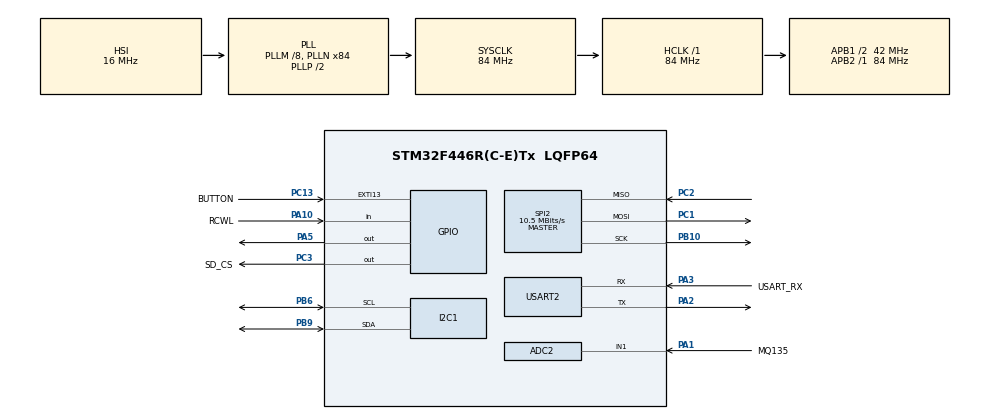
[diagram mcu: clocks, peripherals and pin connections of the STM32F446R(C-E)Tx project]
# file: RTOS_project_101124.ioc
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ADC1.Channel-2\#ChannelRegularConversion=ADC_CHANNEL_TEMPSENSOR
ADC1.Channel-3\#ChannelRegularConversion=ADC_CHANNEL_VREFINT
ADC1.ClockPrescaler=ADC_CLOCK_SYNC_PCLK_DIV4
ADC1.ContinuousConvMode=DISABLE
ADC1.DMAContinuousRequests=ENABLE
ADC1.ExternalTrigConv=ADC_EXTERNALTRIGCONV_T3_TRGO
ADC1.ExternalTrigConvEdge=ADC_EXTERNALTRIGCONVEDGE_FALLING
ADC1.NbrOfConversion=2
ADC1.NbrOfConversionFlag=1
ADC1.Rank-2\#ChannelRegularConversion=1
ADC1.Rank-3\#ChannelRegularConversion=2
ADC1.SamplingTime-2\#ChannelRegularConversion=ADC_SAMPLETIME_480CYCLES
ADC1.SamplingTime-3\#ChannelRegularConversion=ADC_SAMPLETIME_480CYCLES
ADC1.ScanConvMode=ENABLE
ADC1.master=1
ADC2.Channel-1\#ChannelRegularConversion=ADC_CHANNEL_1
ADC2.ClockPrescaler=ADC_CLOCK_SYNC_PCLK_DIV4
ADC2.NbrOfConversionFlag=1
ADC2.Rank-1\#ChannelRegularConversion=1
ADC2.SamplingTime-1\#ChannelRegularConversion=ADC_SAMPLETIME_480CYCLES
Dma.ADC1.0.Direction=DMA_PERIPH_TO_MEMORY
Dma.ADC1.0.FIFOMode=DMA_FIFOMODE_DISABLE
Dma.ADC1.0.Instance=DMA2_Stream0
Dma.ADC1.0.MemDataAlignment=DMA_MDATAALIGN_HALFWORD
Dma.ADC1.0.MemInc=DMA_MINC_ENABLE
Dma.ADC1.0.Mode=DMA_CIRCULAR
Dma.ADC1.0.PeriphDataAlignment=DMA_PDATAALIGN_HALFWORD
Dma.ADC1.0.PeriphInc=DMA_PINC_DISABLE
Dma.ADC1.0.Priority=DMA_PRIORITY_HIGH
Dma.Request0=ADC1
FATFS._MAX_SS=4096
FATFS._USE_LFN=2
FREERTOS.Tasks01=idleTask,24,128,StartDefaultTask,Default,NULL,Dynamic,NULL,NULL
FREERTOS.configGENERATE_RUN_TIME_STATS=1
FREERTOS.configUSE_NEWLIB_REENTRANT=1
FREERTOS.configUSE_STATS_FORMATTING_FUNCTIONS=1
FREERTOS.configUSE_TICKLESS_IDLE=2
I2C1.I2C_Mode=I2C_Fast
Mcu.Family=STM32F4
Mcu.Name=STM32F446R(C-E)Tx
Mcu.Package=LQFP64
NVIC.DMA2_Stream0_IRQn=true\:1\:0\:true\:false\:true\:false\:false\:true\:true
NVIC.EXTI15_10_IRQn=true\:5\:0\:false\:false\:true\:true\:true\:true\:true
NVIC.I2C1_ER_IRQn=true\:5\:0\:false\:false\:true\:true\:true\:true\:true
NVIC.I2C1_EV_IRQn=true\:5\:0\:false\:false\:true\:true\:true\:true\:true
NVIC.PriorityGroup=NVIC_PRIORITYGROUP_4
NVIC.TIM1_TRG_COM_TIM11_IRQn=true\:5\:0\:false\:false\:true\:true\:true\:true\:true
NVIC.TIM6_DAC_IRQn=true\:15\:0\:true\:false\:true\:false\:false\:true\:true
NVIC.TimeBase=TIM6_DAC_IRQn
NVIC.TimeBaseIP=TIM6
PA1.GPIO_Label=MQ135
PA1.Signal=ADCx_IN1
PA10.GPIO_Label=RCWL
PA10.Signal=GPIO_Input
PA13.GPIO_Label=TMS
PA13.Mode=Trace_Asynchronous_SW
PA13.Signal=SYS_JTMS-SWDIO
PA14.GPIO_Label=TCK
PA14.Mode=Trace_Asynchronous_SW
PA14.Signal=SYS_JTCK-SWCLK
PA2.Mode=Asynchronous
PA2.Signal=USART2_TX
PA3.GPIO_Label=USART_RX
PA3.Mode=Asynchronous
PA3.Signal=USART2_RX
PA5.Signal=GPIO_Output
PB10.Mode=Full_Duplex_Master
PB10.Signal=SPI2_SCK
PB3.GPIO_Label=SWO
PB3.Mode=Trace_Asynchronous_SW
PB3.Signal=SYS_JTDO-SWO
PB6.Mode=I2C
PB6.Signal=I2C1_SCL
PB9.Mode=I2C
PB9.Signal=I2C1_SDA
PC1.Mode=Full_Duplex_Master
PC1.Signal=SPI2_MOSI
PC13.GPIO_Label=BUTTON
PC13.GPIO_PuPd=GPIO_PULLUP
PC13.Signal=GPXTI13
PC14-OSC32_IN.Mode=LSE-External-Oscillator
PC14-OSC32_IN.Signal=RCC_OSC32_IN
PC15-OSC32_OUT.Mode=LSE-External-Oscillator
PC15-OSC32_OUT.Signal=RCC_OSC32_OUT
PC2.Mode=Full_Duplex_Master
PC2.Signal=SPI2_MISO
PC3.GPIO_Label=SD_CS
PC3.Signal=GPIO_Output
PH0-OSC_IN.Mode=HSE-External-Oscillator
PH0-OSC_IN.Signal=RCC_OSC_IN
PH1-OSC_OUT.Mode=HSE-External-Oscillator
PH1-OSC_OUT.Signal=RCC_OSC_OUT
ProjectManager.HeapSize=0x800
ProjectManager.StackSize=0x800
ProjectManager.TargetToolchain=STM32CubeIDE
RCC.AHBFreq_Value=84000000
RCC.APB1CLKDivider=RCC_HCLK_DIV2
RCC.APB1Freq_Value=42000000
RCC.APB1TimFreq_Value=84000000
RCC.APB2Freq_Value=84000000
RCC.APB2TimFreq_Value=84000000
RCC.CortexFreq_Value=84000000
RCC.FLatency-AdvancedSettings=FLASH_LATENCY_2
RCC.HCLKFreq_Value=84000000
RCC.HSE_VALUE=8000000
RCC.HSI_VALUE=16000000
RCC.PLLM=8
RCC.PLLN=84
RCC.SYSCLKFreq_VALUE=84000000
RCC.SYSCLKSource=RCC_SYSCLKSOURCE_PLLCLK
RCC.USBFreq_Value=84000000
RCC.VCOOutputFreq_Value=168000000
RTC.Alarm=RTC_ALARM_A
RTC.Date=30
RTC.Format=RTC_FORMAT_BIN
RTC.Hours=10
RTC.Minutes=20
RTC.Month=RTC_MONTH_NOVEMBER
RTC.Seconds=30
RTC.WeekDay=RTC_WEEKDAY_SATURDAY
RTC.Year=24
SH.ADCx_IN1.0=ADC2_IN1,IN1
SPI2.BaudRatePrescaler=SPI_BAUDRATEPRESCALER_4
SPI2.CalculateBaudRate=10.5 MBits/s
SPI2.Direction=SPI_DIRECTION_2LINES
SPI2.Mode=SPI_MODE_MASTER
SPI2.VirtualType=VM_MASTER
STMicroelectronics.X-CUBE-AI.9.1.0.HeapSize=0x800
STMicroelectronics.X-CUBE-AI.9.1.0.ReadyForCodeGeneration=false
STMicroelectronics.X-CUBE-AI.9.1.0.StackSize=0x800
TIM3.AutoReloadPreload=TIM_AUTORELOAD_PRELOAD_ENABLE
TIM3.Period=1000-1
TIM3.Prescaler=840-1
TIM3.TIM_MasterOutputTrigger=TIM_TRGO_UPDATE
USART2.VirtualMode=VM_ASYNC
VP_ADC1_TempSens_Input.Mode=IN-TempSens
VP_ADC1_Vref_Input.Mode=IN-Vrefint
VP_FATFS_VS_Generic.Mode=User_defined
VP_FREERTOS_VS_CMSIS_V2.Mode=CMSIS_V2
VP_RTC_VS_RTC_Activate.Mode=RTC_Enabled
VP_RTC_VS_RTC_Alarm_A_Intern.Mode=Alarm A
VP_RTC_VS_RTC_Calendar.Mode=RTC_Calendar
VP_SYS_VS_tim6.Mode=TIM6
VP_TIM11_VS_ClockSourceINT.Mode=Enable_Timer
VP_TIM3_VS_ClockSourceINT.Mode=Internal
board=NUCLEO-F446RE

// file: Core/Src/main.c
/* USER CODE BEGIN Header */
/**
  NOTE: In some cases the code might not work and gives you errors like " _close is not implemented and will always fail"
  so in this case download syscalls.c from internet
	NOTE: We have used TIM11 for debugging purposes to get Task, semaphore related data
*/
/* USER CODE END Header */
#include "main.h"
#include "cmsis_os.h"
#include "fatfs.h"

/* USER CODE BEGIN Includes */
#include "string.h"
#include "stdbool.h"
#include "stdlib.h"
#include "stdio.h"
#include "ssd1306.h"//user made
#include "fonts.h"//user made
#include "bitmap.h"//user made
#include "horse_anim.h"//user made
#include "queue.h"//user made
#include "dma_adc.h"//user made
#include "UART.h"//user made
#include "semphr.h"//user made
/* USER CODE END Includes */

/* USER CODE BEGIN PTD */
FATFS fs;
FATFS *pfs;
FIL fil;
UINT br,bw;
FRESULT fresult;
DWORD fre_clust;
uint32_t total, free_space;
//Variables defined for SD Card initialization

char buffer[256];
char OLEDbuffer[256];
char motionState[50];
char adcVal[50];
char tempState[50];
char SDCardUART[30];
char help_str[10];
//char arrays for printing

uint16_t adc_buffer[ADC_SAMPLES * 2 * 2] = { 0 }; // ADC_SAMPLES samples, 2 channels, 2 buffers
// buffer for sdc dma

volatile BaseType_t isButtonPressed = pdFALSE;
uint8_t help = 1;
uint32_t count=0;
///other variables

/* USER CODE END PTD */

/* USER CODE BEGIN PD */
RTC_TimeTypeDef sTime;
RTC_DateTypeDef sDate;

/* USER CODE END PD */

ADC_HandleTypeDef hadc1;
ADC_HandleTypeDef hadc2;
DMA_HandleTypeDef hdma_adc1;

I2C_HandleTypeDef hi2c1;

RTC_HandleTypeDef hrtc;

SPI_HandleTypeDef hspi2;

TIM_HandleTypeDef htim3;
TIM_HandleTypeDef htim11;

UART_HandleTypeDef huart2;

/* Definitions for idleTask */
osThreadId_t idleTaskHandle;
const osThreadAttr_t idleTask_attributes = {
  .name = "idleTask",
  .stack_size = 128 * 4,
  .priority = (osPriority_t) osPriorityNormal,
};
/* USER CODE BEGIN PV */
#define MAX_QUEUE_SIZE 10
#define MAX_CHARS 40
/* USER CODE END PV */

void SystemClock_Config(void);
static void MX_GPIO_Init(void);
static void MX_DMA_Init(void);
static void MX_USART2_UART_Init(void);
static void MX_RTC_Init(void);
static void MX_SPI2_Init(void);
static void MX_ADC1_Init(void);
static void MX_ADC2_Init(void);
static void MX_I2C1_Init(void);
static void MX_TIM3_Init(void);
static void MX_TIM11_Init(void);
void StartDefaultTask(void *argument);

/* USER CODE BEGIN PFP */
//void MX_FREERTOS_Init(void);
void MX_FREERTOS_Init(void);
void SDCard_Init(void);
/* USER CODE END PFP */

/* USER CODE BEGIN 0 */
void vRCWLtask(void *pvParameters);
void vUARTtask(void *pvParameters);
void vAQItask(void *pvParameters);
void vRTCtask(void *pvParameters);
void vMQ135task(void *pvParameters);
void vInternalTemptask(void *pvParameters);
void vSwitchtask(void *pvParameters);
void printOLED(char*string, uint8_t y);
void send_SDCard(char*string);
TaskHandle_t RCWL_Handle=NULL;
TaskHandle_t AQI_Handle=NULL;
TaskHandle_t RTC_Handle=NULL;
TaskHandle_t UART_Handle=NULL;
TaskHandle_t MQ135_Handle=NULL;
TaskHandle_t InternalTemp_Handle=NULL;
TaskHandle_t Switch_Handle=NULL;
SemaphoreHandle_t MutexOne=NULL;
SemaphoreHandle_t binarySemaphoreISR=NULL;

/* USER CODE END 0 */

int main(void)
{

  /* MCU Configuration--------------------------------------------------------*/

  /* Reset of all peripherals, Initializes the Flash interface and the Systick. */
  HAL_Init();

  /* Configure the system clock */
  SystemClock_Config();

  /* Initialize all configured peripherals */
  MX_GPIO_Init();
  MX_DMA_Init();
  MX_USART2_UART_Init();
  MX_RTC_Init();
  MX_SPI2_Init();
  MX_FATFS_Init();
  MX_ADC1_Init();
  MX_ADC2_Init();
  MX_I2C1_Init();
  MX_TIM3_Init();
  MX_TIM11_Init();

  /* Init scheduler */
  osKernelInitialize();

  /* USER CODE BEGIN RTOS_MUTEX */
  MutexOne = xSemaphoreCreateMutex();//Create mutex for printing task
  binarySemaphoreISR = xSemaphoreCreateBinary();//created binary semaphore so that ISR goes to vSwitchTask after interrupt
  /* add mutexes, ... */
  /* USER CODE END RTOS_MUTEX */

  /* Create the thread(s) */
  /* creation of idleTask */
  idleTaskHandle = osThreadNew(StartDefaultTask, NULL, &idleTask_attributes);

  /* USER CODE BEGIN RTOS_THREADS */
  /* add threads, ... */

  xTaskCreate(vUARTtask,"UART_Task", 128, NULL, 2, &UART_Handle);// at 256-Stack Size HELP doesn't prints on OLED SCREEN. ONLY GOD KNOWS WHY!!
  xTaskCreate(vRCWLtask,"RCWL_Tsk", 512, NULL, 2, &RCWL_Handle);
  xTaskCreate(vMQ135task,"MQ135_Task", 512, NULL, 2, &MQ135_Handle);
  xTaskCreate(vInternalTemptask,"Temp_Task", 512, NULL, 2, &InternalTemp_Handle);
  xTaskCreate(vRTCtask,"RTC_Task", 512, NULL, 2, &RTC_Handle);
  xTaskCreate(vSwitchtask,"Switch_Task", 1024, NULL, 3, &Switch_Handle);
  /* USER CODE END RTOS_THREADS */

  /* USER CODE BEGIN RTOS_EVENTS */
  SDCard_Init();
  MX_FREERTOS_Init();
  SSD1306_Init();

  /* add events, ... */
  /* USER CODE END RTOS_EVENTS */

  /* Start scheduler */
  osKernelStart();

  /* We should never get here as control is now taken by the scheduler */
  /* Infinite loop */
  while (1)
  {

  }
}

void SystemClock_Config(void)
{
  RCC_OscInitTypeDef RCC_OscInitStruct = {0};
  RCC_ClkInitTypeDef RCC_ClkInitStruct = {0};

  /** Configure the main internal regulator output voltage
  */
  __HAL_RCC_PWR_CLK_ENABLE();
  __HAL_PWR_VOLTAGESCALING_CONFIG(PWR_REGULATOR_VOLTAGE_SCALE3);

  /** Initializes the RCC Oscillators according to the specified parameters
  * in the RCC_OscInitTypeDef structure.
  */
  RCC_OscInitStruct.OscillatorType = RCC_OSCILLATORTYPE_HSI|RCC_OSCILLATORTYPE_LSI;
  RCC_OscInitStruct.LSEState = RCC_LSE_ON;
  RCC_OscInitStruct.HSIState = RCC_HSI_ON;
  RCC_OscInitStruct.HSICalibrationValue = RCC_HSICALIBRATION_DEFAULT;
  RCC_OscInitStruct.LSIState = RCC_LSI_ON;
  RCC_OscInitStruct.PLL.PLLState = RCC_PLL_ON;
  RCC_OscInitStruct.PLL.PLLSource = RCC_PLLSOURCE_HSI;
  RCC_OscInitStruct.PLL.PLLM = 8;
  RCC_OscInitStruct.PLL.PLLN = 84;
  RCC_OscInitStruct.PLL.PLLP = RCC_PLLP_DIV2;
  RCC_OscInitStruct.PLL.PLLQ = 2;
  RCC_OscInitStruct.PLL.PLLR = 2;
  if (HAL_RCC_OscConfig(&RCC_OscInitStruct) != HAL_OK)
  {
    Error_Handler();
  }

  /** Initializes the CPU, AHB and APB buses clocks
  */
  RCC_ClkInitStruct.ClockType = RCC_CLOCKTYPE_HCLK|RCC_CLOCKTYPE_SYSCLK
                              |RCC_CLOCKTYPE_PCLK1|RCC_CLOCKTYPE_PCLK2;
  RCC_ClkInitStruct.SYSCLKSource = RCC_SYSCLKSOURCE_PLLCLK;
  RCC_ClkInitStruct.AHBCLKDivider = RCC_SYSCLK_DIV1;
  RCC_ClkInitStruct.APB1CLKDivider = RCC_HCLK_DIV2;
  RCC_ClkInitStruct.APB2CLKDivider = RCC_HCLK_DIV1;

  if (HAL_RCC_ClockConfig(&RCC_ClkInitStruct, FLASH_LATENCY_2) != HAL_OK)
  {
    Error_Handler();
  }
}

static void MX_ADC1_Init(void)
{

  ADC_ChannelConfTypeDef sConfig = {0};

  /** Configure the global features of the ADC (Clock, Resolution, Data Alignment and number of conversion)
  */
  hadc1.Instance = ADC1;
  hadc1.Init.ClockPrescaler = ADC_CLOCK_SYNC_PCLK_DIV4;
  hadc1.Init.Resolution = ADC_RESOLUTION_12B;
  hadc1.Init.ScanConvMode = ENABLE;
  hadc1.Init.ContinuousConvMode = DISABLE;
  hadc1.Init.DiscontinuousConvMode = DISABLE;
  hadc1.Init.ExternalTrigConvEdge = ADC_EXTERNALTRIGCONVEDGE_FALLING;
  hadc1.Init.ExternalTrigConv = ADC_EXTERNALTRIGCONV_T3_TRGO;
  hadc1.Init.DataAlign = ADC_DATAALIGN_RIGHT;
  hadc1.Init.NbrOfConversion = 2;
  hadc1.Init.DMAContinuousRequests = ENABLE;
  hadc1.Init.EOCSelection = ADC_EOC_SINGLE_CONV;
  if (HAL_ADC_Init(&hadc1) != HAL_OK)
  {
    Error_Handler();
  }

  /** Configure for the selected ADC regular channel its corresponding rank in the sequencer and its sample time.
  */
  sConfig.Channel = ADC_CHANNEL_TEMPSENSOR;
  sConfig.Rank = 1;
  sConfig.SamplingTime = ADC_SAMPLETIME_480CYCLES;
  if (HAL_ADC_ConfigChannel(&hadc1, &sConfig) != HAL_OK)
  {
    Error_Handler();
  }

  /** Configure for the selected ADC regular channel its corresponding rank in the sequencer and its sample time.
  */
  sConfig.Channel = ADC_CHANNEL_VREFINT;
  sConfig.Rank = 2;
  if (HAL_ADC_ConfigChannel(&hadc1, &sConfig) != HAL_OK)
  {
    Error_Handler();
  }

}

static void MX_ADC2_Init(void)
{

  ADC_ChannelConfTypeDef sConfig = {0};

  /** Configure the global features of the ADC (Clock, Resolution, Data Alignment and number of conversion)
  */
  hadc2.Instance = ADC2;
  hadc2.Init.ClockPrescaler = ADC_CLOCK_SYNC_PCLK_DIV4;
  hadc2.Init.Resolution = ADC_RESOLUTION_12B;
  hadc2.Init.ScanConvMode = DISABLE;
  hadc2.Init.ContinuousConvMode = DISABLE;
  hadc2.Init.DiscontinuousConvMode = DISABLE;
  hadc2.Init.ExternalTrigConvEdge = ADC_EXTERNALTRIGCONVEDGE_NONE;
  hadc2.Init.ExternalTrigConv = ADC_SOFTWARE_START;
  hadc2.Init.DataAlign = ADC_DATAALIGN_RIGHT;
  hadc2.Init.NbrOfConversion = 1;
  hadc2.Init.DMAContinuousRequests = DISABLE;
  hadc2.Init.EOCSelection = ADC_EOC_SINGLE_CONV;
  if (HAL_ADC_Init(&hadc2) != HAL_OK)
  {
    Error_Handler();
  }

  /** Configure for the selected ADC regular channel its corresponding rank in the sequencer and its sample time.
  */
  sConfig.Channel = ADC_CHANNEL_1;
  sConfig.Rank = 1;
  sConfig.SamplingTime = ADC_SAMPLETIME_480CYCLES;
  if (HAL_ADC_ConfigChannel(&hadc2, &sConfig) != HAL_OK)
  {
    Error_Handler();
  }

}

static void MX_I2C1_Init(void)
{

  hi2c1.Instance = I2C1;
  hi2c1.Init.ClockSpeed = 400000;
  hi2c1.Init.DutyCycle = I2C_DUTYCYCLE_2;
  hi2c1.Init.OwnAddress1 = 0;
  hi2c1.Init.AddressingMode = I2C_ADDRESSINGMODE_7BIT;
  hi2c1.Init.DualAddressMode = I2C_DUALADDRESS_DISABLE;
  hi2c1.Init.OwnAddress2 = 0;
  hi2c1.Init.GeneralCallMode = I2C_GENERALCALL_DISABLE;
  hi2c1.Init.NoStretchMode = I2C_NOSTRETCH_DISABLE;
  if (HAL_I2C_Init(&hi2c1) != HAL_OK)
  {
    Error_Handler();
  }

}

static void MX_RTC_Init(void)
{

  RTC_TimeTypeDef sTime = {0};
  RTC_DateTypeDef sDate = {0};
  RTC_AlarmTypeDef sAlarm = {0};

  /** Initialize RTC Only
  */
  hrtc.Instance = RTC;
  hrtc.Init.HourFormat = RTC_HOURFORMAT_24;
  hrtc.Init.AsynchPrediv = 127;
  hrtc.Init.SynchPrediv = 255;
  hrtc.Init.OutPut = RTC_OUTPUT_DISABLE;
  hrtc.Init.OutPutPolarity = RTC_OUTPUT_POLARITY_HIGH;
  hrtc.Init.OutPutType = RTC_OUTPUT_TYPE_OPENDRAIN;
  if (HAL_RTC_Init(&hrtc) != HAL_OK)
  {
    Error_Handler();
  }

  /** Initialize RTC and set the Time and Date
  */
  sTime.Hours = 10;
  sTime.Minutes = 20;
  sTime.Seconds = 30;
  sTime.DayLightSaving = RTC_DAYLIGHTSAVING_NONE;
  sTime.StoreOperation = RTC_STOREOPERATION_RESET;
  if (HAL_RTC_SetTime(&hrtc, &sTime, RTC_FORMAT_BIN) != HAL_OK)
  {
    Error_Handler();
  }
  sDate.WeekDay = RTC_WEEKDAY_SATURDAY;
  sDate.Month = RTC_MONTH_NOVEMBER;
  sDate.Date = 30;
  sDate.Year = 24;

  if (HAL_RTC_SetDate(&hrtc, &sDate, RTC_FORMAT_BIN) != HAL_OK)
  {
    Error_Handler();
  }

  /** Enable the Alarm A
  */
  sAlarm.AlarmTime.Hours = 0;
  sAlarm.AlarmTime.Minutes = 0;
  sAlarm.AlarmTime.Seconds = 0;
  sAlarm.AlarmTime.SubSeconds = 0;
  sAlarm.AlarmTime.DayLightSaving = RTC_DAYLIGHTSAVING_NONE;
  sAlarm.AlarmTime.StoreOperation = RTC_STOREOPERATION_RESET;
  sAlarm.AlarmMask = RTC_ALARMMASK_NONE;
  sAlarm.AlarmSubSecondMask = RTC_ALARMSUBSECONDMASK_ALL;
  sAlarm.AlarmDateWeekDaySel = RTC_ALARMDATEWEEKDAYSEL_DATE;
  sAlarm.AlarmDateWeekDay = 1;
  sAlarm.Alarm = RTC_ALARM_A;
  if (HAL_RTC_SetAlarm(&hrtc, &sAlarm, RTC_FORMAT_BIN) != HAL_OK)
  {
    Error_Handler();
  }

}

static void MX_SPI2_Init(void)
{

  /* SPI2 parameter configuration*/
  hspi2.Instance = SPI2;
  hspi2.Init.Mode = SPI_MODE_MASTER;
  hspi2.Init.Direction = SPI_DIRECTION_2LINES;
  hspi2.Init.DataSize = SPI_DATASIZE_8BIT;
  hspi2.Init.CLKPolarity = SPI_POLARITY_LOW;
  hspi2.Init.CLKPhase = SPI_PHASE_1EDGE;
  hspi2.Init.NSS = SPI_NSS_SOFT;
  hspi2.Init.BaudRatePrescaler = SPI_BAUDRATEPRESCALER_4;
  hspi2.Init.FirstBit = SPI_FIRSTBIT_MSB;
  hspi2.Init.TIMode = SPI_TIMODE_DISABLE;
  hspi2.Init.CRCCalculation = SPI_CRCCALCULATION_DISABLE;
  hspi2.Init.CRCPolynomial = 10;
  if (HAL_SPI_Init(&hspi2) != HAL_OK)
  {
    Error_Handler();
  }

}

static void MX_TIM3_Init(void)
{

  TIM_ClockConfigTypeDef sClockSourceConfig = {0};
  TIM_MasterConfigTypeDef sMasterConfig = {0};

  htim3.Instance = TIM3;
  htim3.Init.Prescaler = 840-1;
  htim3.Init.CounterMode = TIM_COUNTERMODE_UP;
  htim3.Init.Period = 1000-1;
  htim3.Init.ClockDivision = TIM_CLOCKDIVISION_DIV1;
  htim3.Init.AutoReloadPreload = TIM_AUTORELOAD_PRELOAD_ENABLE;
  if (HAL_TIM_Base_Init(&htim3) != HAL_OK)
  {
    Error_Handler();
  }
  sClockSourceConfig.ClockSource = TIM_CLOCKSOURCE_INTERNAL;
  if (HAL_TIM_ConfigClockSource(&htim3, &sClockSourceConfig) != HAL_OK)
  {
    Error_Handler();
  }
  sMasterConfig.MasterOutputTrigger = TIM_TRGO_UPDATE;
  sMasterConfig.MasterSlaveMode = TIM_MASTERSLAVEMODE_DISABLE;
  if (HAL_TIMEx_MasterConfigSynchronization(&htim3, &sMasterConfig) != HAL_OK)
  {
    Error_Handler();
  }

}

static void MX_TIM11_Init(void)
{

  htim11.Instance = TIM11;
  htim11.Init.Prescaler = 0;
  htim11.Init.CounterMode = TIM_COUNTERMODE_UP;
  htim11.Init.Period = 65535;
  htim11.Init.ClockDivision = TIM_CLOCKDIVISION_DIV1;
  htim11.Init.AutoReloadPreload = TIM_AUTORELOAD_PRELOAD_DISABLE;
  if (HAL_TIM_Base_Init(&htim11) != HAL_OK)
  {
    Error_Handler();
  }

}

static void MX_USART2_UART_Init(void)
{

  huart2.Instance = USART2;
  huart2.Init.BaudRate = 115200;
  huart2.Init.WordLength = UART_WORDLENGTH_8B;
  huart2.Init.StopBits = UART_STOPBITS_1;
  huart2.Init.Parity = UART_PARITY_NONE;
  huart2.Init.Mode = UART_MODE_TX_RX;
  huart2.Init.HwFlowCtl = UART_HWCONTROL_NONE;
  huart2.Init.OverSampling = UART_OVERSAMPLING_16;
  if (HAL_UART_Init(&huart2) != HAL_OK)
  {
    Error_Handler();
  }

}

static void MX_DMA_Init(void)
{

  /* DMA controller clock enable */
  __HAL_RCC_DMA2_CLK_ENABLE();

  /* DMA interrupt init */
  /* DMA2_Stream0_IRQn interrupt configuration */
  HAL_NVIC_SetPriority(DMA2_Stream0_IRQn, 1, 0);
  HAL_NVIC_EnableIRQ(DMA2_Stream0_IRQn);

}

static void MX_GPIO_Init(void)
{
  GPIO_InitTypeDef GPIO_InitStruct = {0};

  /* GPIO Ports Clock Enable */
  __HAL_RCC_GPIOC_CLK_ENABLE();
  __HAL_RCC_GPIOH_CLK_ENABLE();
  __HAL_RCC_GPIOA_CLK_ENABLE();
  __HAL_RCC_GPIOB_CLK_ENABLE();

  /*Configure GPIO pin Output Level */
  HAL_GPIO_WritePin(SD_CS_GPIO_Port, SD_CS_Pin, GPIO_PIN_RESET);

  /*Configure GPIO pin Output Level */
  HAL_GPIO_WritePin(GPIOA, GPIO_PIN_5, GPIO_PIN_RESET);

  /*Configure GPIO pin : BUTTON_Pin */
  GPIO_InitStruct.Pin = BUTTON_Pin;
  GPIO_InitStruct.Mode = GPIO_MODE_IT_RISING;
  GPIO_InitStruct.Pull = GPIO_PULLUP;
  HAL_GPIO_Init(BUTTON_GPIO_Port, &GPIO_InitStruct);

  /*Configure GPIO pin : SD_CS_Pin */
  GPIO_InitStruct.Pin = SD_CS_Pin;
  GPIO_InitStruct.Mode = GPIO_MODE_OUTPUT_PP;
  GPIO_InitStruct.Pull = GPIO_NOPULL;
  GPIO_InitStruct.Speed = GPIO_SPEED_FREQ_LOW;
  HAL_GPIO_Init(SD_CS_GPIO_Port, &GPIO_InitStruct);

  /*Configure GPIO pin : PA5 */
  GPIO_InitStruct.Pin = GPIO_PIN_5;
  GPIO_InitStruct.Mode = GPIO_MODE_OUTPUT_PP;
  GPIO_InitStruct.Pull = GPIO_NOPULL;
  GPIO_InitStruct.Speed = GPIO_SPEED_FREQ_LOW;
  HAL_GPIO_Init(GPIOA, &GPIO_InitStruct);

  /*Configure GPIO pin : RCWL_Pin */
  GPIO_InitStruct.Pin = RCWL_Pin;
  GPIO_InitStruct.Mode = GPIO_MODE_INPUT;
  GPIO_InitStruct.Pull = GPIO_NOPULL;
  HAL_GPIO_Init(RCWL_GPIO_Port, &GPIO_InitStruct);

  /* EXTI interrupt init*/
  HAL_NVIC_SetPriority(EXTI15_10_IRQn, 5, 0);
  HAL_NVIC_EnableIRQ(EXTI15_10_IRQn);

}

/* USER CODE BEGIN 4 */

void SDCard_Init(void){// SD Card Initialization
	fresult=f_mount(&fs,"",0);
	if(fresult!=FR_OK){
		send_uart("error in mounting SD card ....\n\r");
	}
	else{
		send_uart("SD card mounted\n\r");
	}
}

void MX_FREERTOS_Init(void){// This is for debugging purposes. Check FreeRTOS task View Window
	vQueueAddToRegistry(binarySemaphoreISR, "binary_semaphore_ISR");
	vQueueAddToRegistry(MutexOne, "Mutex_One");
}

// Sends a string to the OLED at a specified row (y)
// Parameters:
// - string: Text to display
// - y: Y-coordinate (row) on the OLED
void send_OLED(char* string, uint8_t y) {
	if (help) { // Check if display update is allowed
		SSD1306_GotoXY(5, y);               // Set cursor position
		SSD1306_Puts(string, &Font_7x10, 1); // Display string in specified font
		SSD1306_UpdateScreen();             // Refresh OLED screen
	}
}

// Appends a string to "data.txt" on the SD card
void send_SDCard(char* string) {
	count++; // Increment counter
	fresult = f_open(&fil, "data.txt", FA_OPEN_ALWAYS | FA_WRITE | FA_OPEN_APPEND); // Open file in append mode
	strcat(string, "\n\r"); // Add newline to the string
	fresult = f_puts(string, &fil); // Write string to file
	f_close(&fil); // Close file
}

// Task to send a counter value over UART periodically
void vUARTtask(void *pvParameters) {
	uint16_t count = 0; // Initialize counter

	while (1) { // Infinite task loop
		count++; // Increment counter
		sprintf(buffer, "count is %d\n\r", count); // Format counter value into buffer
		send_uart(buffer); // Send buffer over UART
		vTaskDelay(50); // Delay for 50 ticks (RTOS delay)
	}
}

// Task to handle button press and execute actions
void vSwitchtask(void *pvParameters) {
	while (1) {
			// Wait for semaphore indicating button press
		if (xSemaphoreTake(binarySemaphoreISR, portMAX_DELAY) == pdTRUE) {
			if (!isButtonPressed) {
				isButtonPressed = pdTRUE; // Mark button as pressed

				// DIrectly calling sendSDcard and sendOLED doesn't work

				help = 0; // Update help state
				sprintf(help_str, "HELP"); // Prepare "HELP" string
				fresult = f_open(&fil, "data.txt", FA_OPEN_ALWAYS | FA_WRITE | FA_OPEN_APPEND); // Open file
				strcat(help_str, "\n\r"); // Append newline
				fresult = f_puts(help_str, &fil); // Write to file
				f_close(&fil); // Close file

				SSD1306_Clear(); // Clear OLED
				vTaskDelay(20); // Small delay
				SSD1306_GotoXY(25, 20); // Set OLED cursor
				SSD1306_Puts("HELP", &Font_16x26, 1); // Display "HELP" on OLED
				SSD1306_UpdateScreen(); // Refresh OLED
				send_uart("Button Pressed\r\n"); // Send UART message
				vTaskDelay(970); // Delay for debounce or message display

				help = 1; // Restore help state
			}
			vTaskDelay(20); // Small delay before next check
		}
	}
}

// Task to measure internal temperature and log/display it
void vInternalTemptask(void *pvParameters) {
    HAL_TIM_Base_Start_IT(&htim3); // Start timer with interrupts
    HAL_ADC_Start_DMA(&hadc1, (uint32_t*) adc_buffer, ADC_SAMPLES * 2 * 2); // Start ADC in DMA mode

    while (1) {
        // Format the temperature reading into a string
        sprintf(tempState, "Temp = %4.2f C", temp);

        // Take the mutex to ensure safe access to shared resources
        if (xSemaphoreTake(MutexOne, portMAX_DELAY) == pdTRUE) {
            send_OLED(tempState, 50); // Display temperature on OLED
            send_SDCard(tempState);  // Log temperature to SD card
            send_uart(tempState);    // Send temperature over UART
            xSemaphoreGive(MutexOne); // Release the mutex
        }

        vTaskDelay(20); // Delay to control task frequency
    }
}

// Task to detect motion using RCWL sensor and log/display state
void vRCWLtask(void *pvParameters) {
    while (1) {
        uint8_t rcwl = HAL_GPIO_ReadPin(GPIOA, GPIO_PIN_10); // Read motion sensor state
        char *rcwl_state = (rcwl == 1) ? "HIGH" : "LOW "; // Determine motion state

        sprintf(motionState, "Motion: %s", rcwl_state); // Format motion state

        // Access shared resources safely using semaphore
        if (xSemaphoreTake(MutexOne, portMAX_DELAY) == pdTRUE) {
            send_OLED(motionState, 30); // Display motion state on OLED
            send_SDCard(motionState);   // Log motion state to SD card
            send_uart(motionState);     // Send motion state over UART
            xSemaphoreGive(MutexOne);   // Release the semaphore
        }

        vTaskDelay(20); // Delay to control task frequency
    }
}

// Task to read and display current time and date from RTC
void vRTCtask(void *pvParameters) {
    while (1) {
        char time[60];
        char date[60];

        // Get current time and date from RTC
        HAL_RTC_GetTime(&hrtc, &sTime, RTC_FORMAT_BIN);
        HAL_RTC_GetDate(&hrtc, &sDate, RTC_FORMAT_BIN);

        // Format date and time strings
        sprintf(date, "Date :%02d.%02d.%02d", sDate.Date, sDate.Month, sDate.Year);
        sprintf(time, "Time :%02d.%02d.%02d", sTime.Hours, sTime.Minutes, sTime.Seconds);

        // Access shared resources safely using semaphore
        if (xSemaphoreTake(MutexOne, portMAX_DELAY) == pdTRUE) {
            send_OLED(date, 10);  // Display date on OLED
            send_OLED(time, 20);  // Display time on OLED
            send_SDCard(date);    // Log date to SD card
            vTaskDelay(5);        // Short delay
            send_SDCard(time);    // Log time to SD card
            vTaskDelay(5);        // Short delay
            send_uart(date);      // Send date over UART
            send_uart(time);      // Send time over UART
            xSemaphoreGive(MutexOne); // Release the semaphore
        }

        vTaskDelay(10); // Delay to control task frequency
    }
}

// Task to read AQI value from MQ135 sensor and log/display it
void vMQ135task(void *pvParameters) {
    while (1) {
        HAL_ADC_Start(&hadc2); // Start ADC conversion
        HAL_ADC_PollForConversion(&hadc2, HAL_MAX_DELAY); // Wait for conversion to complete
        uint16_t adc_value = HAL_ADC_GetValue(&hadc2); // Read ADC value
        HAL_ADC_Stop(&hadc2); // Stop ADC conversion

        sprintf(adcVal, "AQI is %d   ", adc_value); // Format AQI value

        // Access shared resources safely using semaphore
        if (xSemaphoreTake(MutexOne, portMAX_DELAY) == pdTRUE) {
            send_OLED(adcVal, 40);  // Display AQI on OLED
            send_SDCard(adcVal);    // Log AQI to SD card
            send_uart(adcVal);      // Send AQI over UART
            xSemaphoreGive(MutexOne); // Release the semaphore
        }

        vTaskDelay(20); // Delay to control task frequency
    }
}

void HAL_ADC_ConvHalfCpltCallback(ADC_HandleTypeDef *hadc){
    process_adc_buffer(&adc_buffer[0]); // We're half way through the buffer, so can safely deal with first half
}

void HAL_ADC_ConvCpltCallback(ADC_HandleTypeDef *hadc){
    process_adc_buffer(&adc_buffer[ADC_SAMPLES * 2]); // We're all the way through the buffer, so deal with second half
}

// Interrupt callback to give semaphore from ISR
void HAL_GPIO_EXTI_Callback(uint16_t GPIO_Pin) {
    BaseType_t xHigherPriorityTaskWoken = pdFALSE;

    // Give semaphore to wake up the task
    xSemaphoreGiveFromISR(binarySemaphoreISR, &xHigherPriorityTaskWoken);

    // If higher priority task was woken, yield
    portYIELD_FROM_ISR(xHigherPriorityTaskWoken);
}

/* USER CODE END 4 */

void StartDefaultTask(void *argument)
{
  for(;;)
  {
    osDelay(1);
  }
}

void HAL_TIM_PeriodElapsedCallback(TIM_HandleTypeDef *htim)
{
  /* USER CODE BEGIN Callback 0 */
	if (htim->Instance == TIM3) {
		if (tim_cnt % 500 == 0)
//				HAL_GPIO_TogglePin(GPIOA, GPIO_PIN_5);
		tim_cnt++;
	}

  /* USER CODE END Callback 0 */
  if (htim->Instance == TIM6) {
    HAL_IncTick();
  }
}

void Error_Handler(void)
{
  __disable_irq();
  while (1)
  {
  }
}

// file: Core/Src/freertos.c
/* USER CODE BEGIN Header */
/**
  ******************************************************************************
  * File Name          : freertos.c
  * Description        : Code for freertos applications
  ******************************************************************************
  * @attention
  *
  * Copyright (c) 2024 STMicroelectronics.
  * All rights reserved.
  *
  * This software is licensed under terms that can be found in the LICENSE file
  * in the root directory of this software component.
  * If no LICENSE file comes with this software, it is provided AS-IS.
  *
  ******************************************************************************
  */
/* USER CODE END Header */

#include "FreeRTOS.h"
#include "task.h"
#include "main.h"

/* USER CODE BEGIN Includes */
#include "queue.h"
#include "semphr.h"
/* USER CODE END Includes */

/* USER CODE BEGIN FunctionPrototypes */
//vQueueAddToRegistry(KeyStatsHandle, "KeyStats");

/* USER CODE END FunctionPrototypes */

/* Hook prototypes */
void configureTimerForRunTimeStats(void);
unsigned long getRunTimeCounterValue(void);

/* USER CODE BEGIN 1 */
extern TIM_HandleTypeDef htim11;
/* Functions needed when configGENERATE_RUN_TIME_STATS is on */
__weak void configureTimerForRunTimeStats(void)
{
	HAL_TIM_Base_Start_IT(&htim11);
}
extern volatile unsigned long ulHighFrequencyTimerTicks;

__weak unsigned long getRunTimeCounterValue(void)
{
	return ulHighFrequencyTimerTicks;
}
/* USER CODE END 1 */

/* USER CODE BEGIN VPORT_SUPPORT_TICKS_AND_SLEEP */
__weak void vPortSuppressTicksAndSleep( TickType_t xExpectedIdleTime )
{
  // Generated when configUSE_TICKLESS_IDLE == 2.
  // Function called in tasks.c (in portTASK_FUNCTION).
  // TO BE COMPLETED or TO BE REPLACED by a user one, overriding that weak one.
}
/* USER CODE END VPORT_SUPPORT_TICKS_AND_SLEEP */
